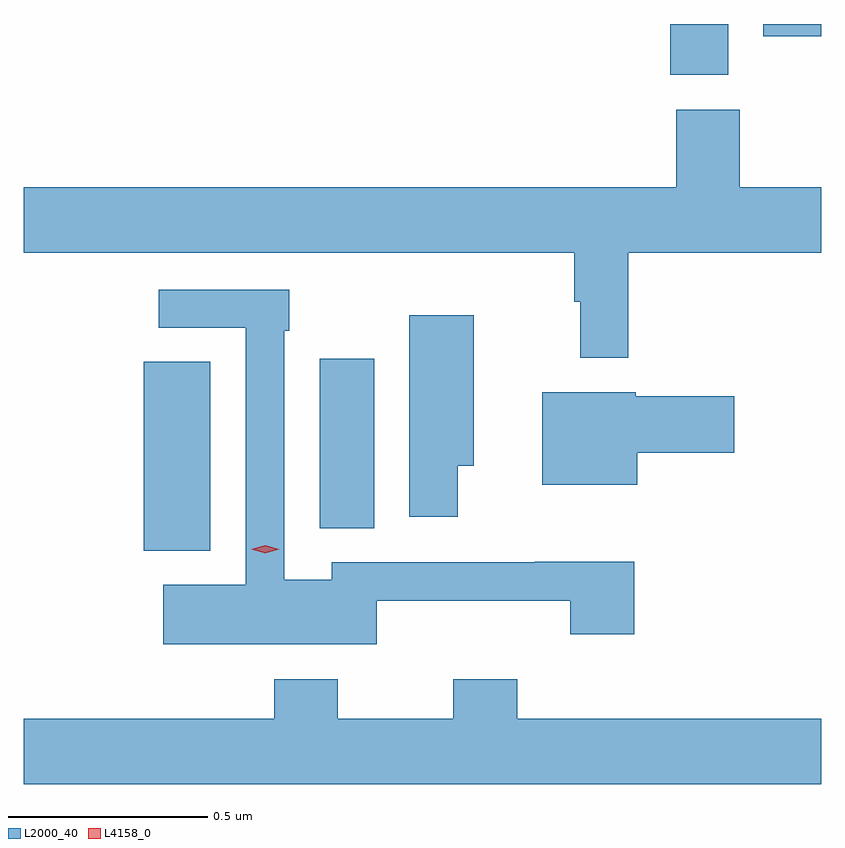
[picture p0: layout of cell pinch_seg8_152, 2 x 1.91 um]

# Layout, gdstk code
import gdstk
lib = gdstk.Library(unit=1e-6, precision=1e-09)
def R(c, l, rs):  # rectangles x0, y0, x1, y1
    for r in rs: c.add(gdstk.rectangle(r[:2], r[2:], *l))
def P(c, l, *ps):  # polygons
    for p in ps: c.add(gdstk.Polygon(p, *l))
L2000_40 = (2000, 40)
L4158_0 = (4158, 0)

pinch_seg8_152 = lib.new_cell('pinch_seg8_152')
R(pinch_seg8_152, L2000_40, [(730.13,1123.745,730.297,1124.219), (730.571,1123.801,730.708,1124.227), (731.45,1124.939,731.596,1125.066), (731.684,1125.035,731.829,1125.066)])
P(pinch_seg8_152, L2000_40, [(731.345,1124.492),(731.829,1124.492),(731.829,1124.656),(731.625,1124.656),(731.625,1124.851),(731.465,1124.851),(731.465,1124.656),(729.829,1124.656),(729.829,1124.492),(731.209,1124.492),(731.209,1124.369),(731.224,1124.369),(731.224,1124.229),(731.345,1124.229)],
  [(730.714,1123.619),(731.2,1123.619),(731.2,1123.536),(731.36,1123.536),(731.36,1123.718),(731.111,1123.718),(731.111,1123.716),(730.601,1123.716),(730.601,1123.672),(730.482,1123.672),(730.482,1124.297),(730.495,1124.297),(730.495,1124.4),(730.167,1124.4),(730.167,1124.304),(730.386,1124.304),(730.386,1123.66),(730.179,1123.66),(730.179,1123.511),(730.714,1123.511)],
  [(730.918,1123.958),(730.957,1123.958),(730.957,1124.335),(730.796,1124.335),(730.796,1123.83),(730.918,1123.83)],
  [(731.368,1123.991),(731.611,1123.991),(731.611,1124.133),(731.364,1124.133),(731.364,1124.143),(731.129,1124.143),(731.129,1123.91),(731.368,1123.91)],
  [(731.829,1123.324),(731.066,1123.324),(731.066,1123.423),(730.906,1123.423),(730.906,1123.324),(730.617,1123.324),(730.617,1123.423),(730.457,1123.423),(730.457,1123.324),(729.829,1123.324),(729.829,1123.16),(731.829,1123.16)])
P(pinch_seg8_152, L4158_0, [(730.435,1123.739),(730.4,1123.749),(730.4,1123.749),(730.4,1123.749),(730.435,1123.759),(730.47,1123.749),(730.47,1123.749),(730.47,1123.749)])

lib.write_gds('pinch_seg8_152.gds')
